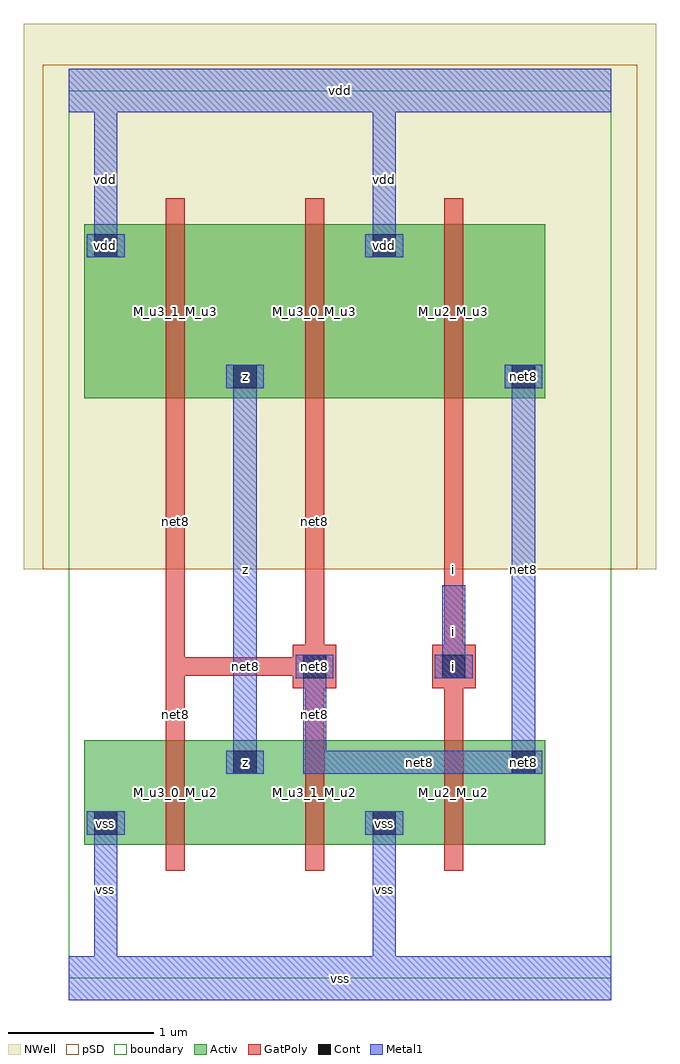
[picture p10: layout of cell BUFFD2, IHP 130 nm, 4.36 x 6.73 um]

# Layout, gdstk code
import gdstk
lib = gdstk.Library(unit=1e-6, precision=1e-09)
def R(c, l, rs):  # rectangles x0, y0, x1, y1
    for r in rs: c.add(gdstk.rectangle(r[:2], r[2:], *l))
def A(c, l, x, y, w, h, nx, ny, dx, dy):  # array of equal rectangles
    R(c, l, [(x+i*dx, y+j*dy, x+i*dx+w, y+j*dy+h) for i in range(nx) for j in range(ny)])
Activ = (1, 0)
GatPoly = (5, 0)
Cont = (6, 0)
Metal1 = (8, 0)
pSD = (14, 0)
NWell = (31, 0)
TEXT = (63, 0)
boundary = (189, 4)

buffd2 = lib.new_cell('BUFFD2')
A(buffd2, Activ, 0.105, 0.92, 1.26, 0.72, 3, 1, 0.96, 0)
A(buffd2, Activ, 0.105, 4, 1.26, 1.2, 3, 1, 0.96, 0)
R(buffd2, Activ, [(0.105,0.92,0.405,1.22), (2.025,0.92,2.325,1.22), (1.065,1.34,1.365,1.64), (2.985,1.34,3.285,1.64), (1.065,4,1.365,4.3), (2.985,4,3.285,4.3), (0.105,4.9,0.405,5.2), (2.025,4.9,2.325,5.2)])
A(buffd2, GatPoly, 0.67, 0.74, 0.13, 1.08, 3, 1, 0.96, 0)
A(buffd2, GatPoly, 0.67, 3.82, 0.13, 1.56, 3, 1, 0.96, 0)
R(buffd2, GatPoly, [(0.67,1.425,0.8,2.215), (1.63,1.425,1.76,2.215), (2.59,1.425,2.72,4.215), (1.545,2,1.845,2.3), (2.505,2,2.805,2.3), (0.67,2.085,1.76,2.215), (0.67,2.085,0.8,4.215), (1.63,2.085,1.76,4.215)])
R(buffd2, Cont, [(0.175,0.99,0.335,1.15), (2.095,0.99,2.255,1.15), (1.135,1.41,1.295,1.57), (3.055,1.41,3.215,1.57), (1.615,2.07,1.775,2.23), (2.575,2.07,2.735,2.23), (1.135,4.07,1.295,4.23), (3.055,4.07,3.215,4.23), (0.175,4.97,0.335,5.13), (2.095,4.97,2.255,5.13)])
R(buffd2, Metal1, [(0,-0.15,3.74,0.15), (0.175,0.07,0.335,1.15), (2.095,0.07,2.255,1.15), (0.125,0.99,0.385,1.15), (2.045,0.99,2.305,1.15), (1.085,1.41,1.345,1.57), (1.135,1.41,1.295,4.23), (1.615,1.41,3.215,1.57), (1.615,1.41,1.775,2.23), (3.005,1.41,3.265,1.57), (3.055,1.41,3.215,4.23), (1.565,2.07,1.825,2.23), (2.525,2.07,2.785,2.23), (2.575,2.07,2.735,2.71), (1.085,4.07,1.345,4.23), (3.005,4.07,3.265,4.23), (0.125,4.97,0.385,5.13), (0.175,4.97,0.335,6.05), (2.045,4.97,2.305,5.13), (2.095,4.97,2.255,6.05), (0,5.97,3.74,6.27)])
R(buffd2, pSD, [(-0.18,2.82,3.92,5.94), (-0.18,5.94,3.92,6.3)])
R(buffd2, NWell, [(-0.31,2.82,4.05,6.58)])
R(buffd2, boundary, [(0,0,3.74,6.12)])
buffd2.add(gdstk.FlexPath([(0.105,0.41),(3.285,0.41)], 0, ends="flush", simple_path=True, layer=63, datatype=0))  # TEXT
buffd2.add(gdstk.FlexPath([(0.105,1.07),(3.285,1.07)], 0, ends="flush", simple_path=True, layer=63, datatype=0))  # TEXT
buffd2.add(gdstk.FlexPath([(0.105,1.49),(3.285,1.49)], 0, ends="flush", simple_path=True, layer=63, datatype=0))  # TEXT
buffd2.add(gdstk.FlexPath([(0.105,2.15),(3.285,2.15)], 0, ends="flush", simple_path=True, layer=63, datatype=0))  # TEXT
buffd2.add(gdstk.FlexPath([(0.105,2.63),(3.285,2.63)], 0, ends="flush", simple_path=True, layer=63, datatype=0))  # TEXT
buffd2.add(gdstk.FlexPath([(0.105,3.11),(3.285,3.11)], 0, ends="flush", simple_path=True, layer=63, datatype=0))  # TEXT
buffd2.add(gdstk.FlexPath([(0.105,4.15),(3.285,4.15)], 0, ends="flush", simple_path=True, layer=63, datatype=0))  # TEXT
buffd2.add(gdstk.FlexPath([(0.105,4.71),(3.285,4.71)], 0, ends="flush", simple_path=True, layer=63, datatype=0))  # TEXT
buffd2.add(gdstk.FlexPath([(0.105,5.05),(3.285,5.05)], 0, ends="flush", simple_path=True, layer=63, datatype=0))  # TEXT
buffd2.add(gdstk.FlexPath([(0.105,5.71),(3.285,5.71)], 0, ends="flush", simple_path=True, layer=63, datatype=0))  # TEXT
buffd2.add(gdstk.FlexPath([(0.255,0.07),(0.255,6.05)], 0, ends="flush", simple_path=True, layer=63, datatype=0))  # TEXT
buffd2.add(gdstk.FlexPath([(0.735,0.07),(0.735,6.05)], 0, ends="flush", simple_path=True, layer=63, datatype=0))  # TEXT
buffd2.add(gdstk.FlexPath([(1.215,0.07),(1.215,6.05)], 0, ends="flush", simple_path=True, layer=63, datatype=0))  # TEXT
buffd2.add(gdstk.FlexPath([(1.695,0.07),(1.695,6.05)], 0, ends="flush", simple_path=True, layer=63, datatype=0))  # TEXT
buffd2.add(gdstk.FlexPath([(2.175,0.07),(2.175,6.05)], 0, ends="flush", simple_path=True, layer=63, datatype=0))  # TEXT
buffd2.add(gdstk.FlexPath([(2.655,0.07),(2.655,6.05)], 0, ends="flush", simple_path=True, layer=63, datatype=0))  # TEXT
buffd2.add(gdstk.FlexPath([(3.135,0.07),(3.135,6.05)], 0, ends="flush", simple_path=True, layer=63, datatype=0))  # TEXT
buffd2.add(gdstk.Label('net8', (3.135,1.49), layer=6, texttype=0))
buffd2.add(gdstk.Label('net8', (3.135,4.15), layer=6, texttype=0))
buffd2.add(gdstk.Label('net8', (1.695,2.15), layer=6, texttype=0))
buffd2.add(gdstk.Label('i', (2.655,2.15), layer=6, texttype=0))
buffd2.add(gdstk.Label('z', (1.215,1.49), layer=6, texttype=0))
buffd2.add(gdstk.Label('z', (1.215,4.15), layer=6, texttype=0))
buffd2.add(gdstk.Label('vss', (2.175,1.07), layer=6, texttype=0))
buffd2.add(gdstk.Label('vss', (0.255,1.07), layer=6, texttype=0))
buffd2.add(gdstk.Label('vdd', (2.175,5.05), layer=6, texttype=0))
buffd2.add(gdstk.Label('vdd', (0.255,5.05), layer=6, texttype=0))
buffd2.add(gdstk.Label('net8', (3.135,1.49), layer=8, texttype=0))
buffd2.add(gdstk.Label('net8', (3.135,4.15), layer=8, texttype=0))
buffd2.add(gdstk.Label('net8', (2.415,1.49), layer=8, texttype=0))
buffd2.add(gdstk.Label('net8', (1.695,1.82), layer=8, texttype=0))
buffd2.add(gdstk.Label('net8', (1.695,2.15), layer=8, texttype=0))
buffd2.add(gdstk.Label('net8', (3.135,2.82), layer=8, texttype=0))
buffd2.add(gdstk.Label('vss', (2.175,1.07), layer=8, texttype=0))
buffd2.add(gdstk.Label('vss', (2.175,0.61), layer=8, texttype=0))
buffd2.add(gdstk.Label('vss', (0.255,1.07), layer=8, texttype=0))
buffd2.add(gdstk.Label('vss', (0.255,0.61), layer=8, texttype=0))
buffd2.add(gdstk.Label('vdd', (2.175,5.05), layer=8, texttype=0))
buffd2.add(gdstk.Label('vdd', (2.175,5.51), layer=8, texttype=0))
buffd2.add(gdstk.Label('vdd', (0.255,5.05), layer=8, texttype=0))
buffd2.add(gdstk.Label('vdd', (0.255,5.51), layer=8, texttype=0))
buffd2.add(gdstk.Label('i', (2.655,2.15), layer=8, texttype=2))
buffd2.add(gdstk.Label('i', (2.655,2.39), layer=8, texttype=2))
buffd2.add(gdstk.Label('z', (1.215,1.49), layer=8, texttype=2))
buffd2.add(gdstk.Label('z', (1.215,4.15), layer=8, texttype=2))
buffd2.add(gdstk.Label('z', (1.215,2.82), layer=8, texttype=2))
buffd2.add(gdstk.Label('vss', (1.87,0), layer=8, texttype=2))
buffd2.add(gdstk.Label('vdd', (1.87,6.12), layer=8, texttype=2))
buffd2.add(gdstk.Label('i', (2.655,2.15), layer=8, texttype=2))
buffd2.add(gdstk.Label('i', (2.655,2.39), layer=8, texttype=2))
buffd2.add(gdstk.Label('z', (1.215,1.49), layer=8, texttype=2))
buffd2.add(gdstk.Label('z', (1.215,4.15), layer=8, texttype=2))
buffd2.add(gdstk.Label('z', (1.215,2.82), layer=8, texttype=2))
buffd2.add(gdstk.Label('vss', (1.87,0), layer=8, texttype=2))
buffd2.add(gdstk.Label('vdd', (1.87,6.12), layer=8, texttype=2))
buffd2.add(gdstk.Label('M_u2_M_u2', (2.655,1.28), layer=1, texttype=0))
buffd2.add(gdstk.Label('M_u3_0_M_u2', (0.735,1.28), layer=1, texttype=0))
buffd2.add(gdstk.Label('M_u3_1_M_u2', (1.695,1.28), layer=1, texttype=0))
buffd2.add(gdstk.Label('M_u2_M_u3', (2.655,4.6), layer=1, texttype=0))
buffd2.add(gdstk.Label('M_u3_0_M_u3', (1.695,4.6), layer=1, texttype=0))
buffd2.add(gdstk.Label('M_u3_1_M_u3', (0.735,4.6), layer=1, texttype=0))
buffd2.add(gdstk.Label('net8', (3.135,1.49), layer=1, texttype=0))
buffd2.add(gdstk.Label('net8', (3.135,4.15), layer=1, texttype=0))
buffd2.add(gdstk.Label('z', (1.215,1.49), layer=1, texttype=0))
buffd2.add(gdstk.Label('z', (1.215,4.15), layer=1, texttype=0))
buffd2.add(gdstk.Label('vss', (2.175,1.07), layer=1, texttype=0))
buffd2.add(gdstk.Label('vss', (0.255,1.07), layer=1, texttype=0))
buffd2.add(gdstk.Label('vdd', (2.175,5.05), layer=1, texttype=0))
buffd2.add(gdstk.Label('vdd', (0.255,5.05), layer=1, texttype=0))
buffd2.add(gdstk.Label('i', (2.655,2.15), layer=8, texttype=25))
buffd2.add(gdstk.Label('i', (2.655,2.39), layer=8, texttype=25))
buffd2.add(gdstk.Label('z', (1.215,1.49), layer=8, texttype=25))
buffd2.add(gdstk.Label('z', (1.215,4.15), layer=8, texttype=25))
buffd2.add(gdstk.Label('z', (1.215,2.82), layer=8, texttype=25))
buffd2.add(gdstk.Label('vss', (1.87,0), layer=8, texttype=25))
buffd2.add(gdstk.Label('vdd', (1.87,6.12), layer=8, texttype=25))
buffd2.add(gdstk.Label('net8', (1.695,2.15), layer=5, texttype=0))
buffd2.add(gdstk.Label('net8', (1.215,2.15), layer=5, texttype=0))
buffd2.add(gdstk.Label('net8', (0.735,1.82), layer=5, texttype=0))
buffd2.add(gdstk.Label('net8', (1.695,1.82), layer=5, texttype=0))
buffd2.add(gdstk.Label('net8', (1.695,3.15), layer=5, texttype=0))
buffd2.add(gdstk.Label('net8', (0.735,3.15), layer=5, texttype=0))
buffd2.add(gdstk.Label('i', (2.655,2.82), layer=5, texttype=0))
buffd2.add(gdstk.Label('i', (2.655,2.15), layer=5, texttype=0))

lib.write_gds('BUFFD2.gds')
